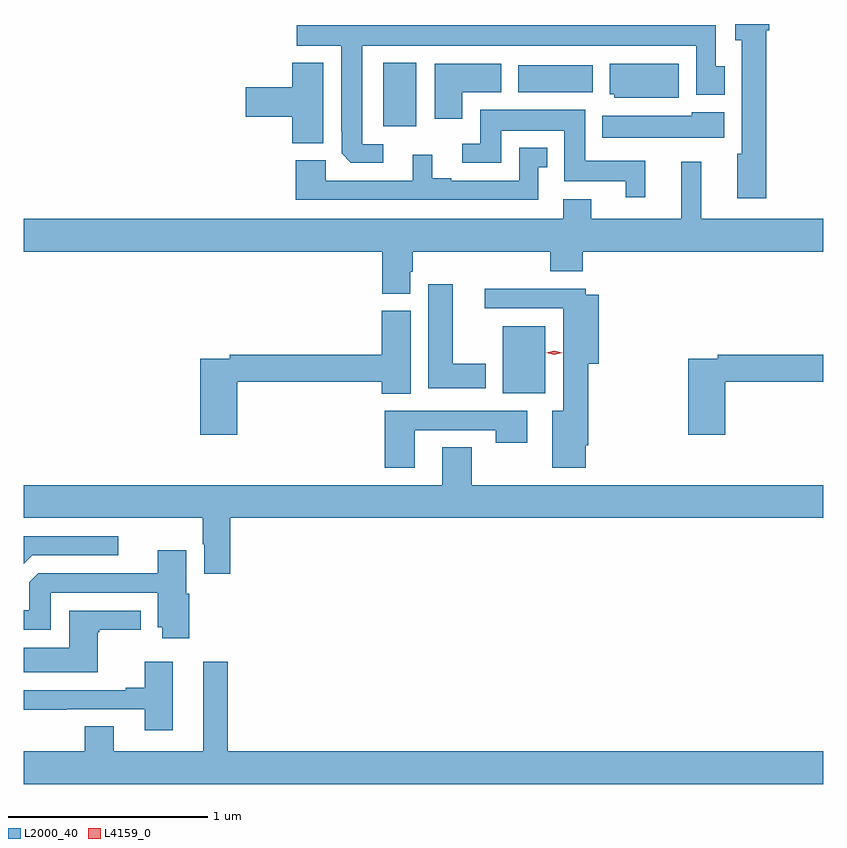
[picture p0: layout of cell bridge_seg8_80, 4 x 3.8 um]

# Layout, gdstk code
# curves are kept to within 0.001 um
import gdstk
lib = gdstk.Library(unit=1e-6, precision=1e-09)
def R(c, l, rs):  # rectangles x0, y0, x1, y1
    for r in rs: c.add(gdstk.rectangle(r[:2], r[2:], *l))
def P(c, l, *ps):  # polygons
    for p in ps: c.add(gdstk.Polygon(p, *l))
L2000_40 = (2000, 40)
L4159_0 = (4159, 0)

bridge_seg8_80 = lib.new_cell('bridge_seg8_80')
R(bridge_seg8_80, L2000_40, [(854.156,1115.792,854.368,1116.127), (853.559,1117.128,853.723,1117.444), (854.234,1117.298,854.608,1117.432)])
P(bridge_seg8_80, L2000_40, [(855.476,1117.608),(855.491,1117.608),(855.491,1117.639),(855.32,1117.639),(855.32,1117.557),(855.353,1117.557),(855.353,1116.99),(855.329,1116.99),(855.329,1116.768),(855.476,1116.768)],
  [(853.558,1117.038),(853.453,1117.038),(853.453,1117.529),(855.126,1117.529),(855.126,1117.284),(855.268,1117.284),(855.268,1117.428),(855.223,1117.428),(855.223,1117.633),(853.125,1117.633),(853.125,1117.529),(853.349,1117.529),(853.35,1116.991),(853.396,1116.945),(853.558,1116.945)],
  [(853.258,1117.444),(853.103,1117.444),(853.103,1117.322),(852.87,1117.322),(852.87,1117.175),(853.103,1117.175),(853.103,1117.043),(853.258,1117.043)],
  [(855.037,1117.441),(854.693,1117.441),(854.693,1117.287),(854.715,1117.287),(854.715,1117.271),(855.037,1117.271)],
  [(853.954,1117.298),(854.149,1117.298),(854.149,1117.441),(853.817,1117.441),(853.817,1117.164),(853.954,1117.164)],
  [(854.87,1116.955),(854.569,1116.955),(854.569,1117.21),(854.045,1117.21),(854.045,1117.041),(853.953,1117.041),(853.953,1116.945),(854.149,1116.945),(854.149,1117.106),(854.465,1117.106),(854.465,1116.851),(854.771,1116.851),(854.771,1116.771),(854.87,1116.771)],
  [(855.265,1117.198),(855.102,1117.198),(855.102,1117.18),(854.654,1117.18),(854.654,1117.07),(855.265,1117.07)],
  [(854.334,1116.921),(854.38,1116.921),(854.38,1117.021),(854.238,1117.021),(854.238,1116.855),(853.9,1116.855),(853.9,1116.868),(853.804,1116.868),(853.804,1116.985),(853.706,1116.985),(853.706,1116.855),(853.272,1116.855),(853.272,1116.958),(853.121,1116.958),(853.121,1116.759),(854.334,1116.759)],
  [(853.693,1116.399),(853.706,1116.399),(853.706,1116.5),(854.393,1116.5),(854.393,1116.401),(854.558,1116.401),(854.558,1116.5),(855.76,1116.5),(855.76,1116.664),(855.149,1116.664),(855.149,1116.949),(855.05,1116.949),(855.05,1116.664),(854.599,1116.664),(854.599,1116.763),(854.459,1116.763),(854.459,1116.664),(851.76,1116.664),(851.76,1116.5),(853.553,1116.5),(853.553,1116.289),(853.693,1116.289)],
  [(854.071,1115.938),(853.906,1115.938),(853.906,1116.337),(853.784,1116.337),(853.784,1115.816),(854.071,1115.816)],
  [(854.572,1115.53),(854.585,1115.53),(854.585,1115.939),(854.638,1115.939),(854.638,1116.283),(854.572,1116.283),(854.572,1116.314),(854.067,1116.314),(854.067,1116.216),(854.459,1116.216),(854.459,1115.704),(854.405,1115.704),(854.405,1115.418),(854.572,1115.418)],
  [(852.827,1115.848),(853.55,1115.848),(853.55,1115.788),(853.696,1115.788),(853.696,1116.204),(853.55,1116.204),(853.55,1115.984),(852.79,1115.984),(852.79,1115.964),(852.644,1115.964),(852.644,1115.583),(852.827,1115.583)],
  [(855.269,1115.848),(855.76,1115.848),(855.76,1115.984),(855.232,1115.984),(855.232,1115.964),(855.086,1115.964),(855.086,1115.583),(855.269,1115.583)],
  [(853.717,1115.607),(854.122,1115.607),(854.122,1115.544),(854.278,1115.544),(854.278,1115.703),(853.565,1115.703),(853.565,1115.418),(853.717,1115.418)],
  [(852.794,1115.168),(855.76,1115.168),(855.76,1115.332),(854.001,1115.332),(854.001,1115.522),(853.853,1115.522),(853.853,1115.332),(851.76,1115.332),(851.76,1115.168),(852.655,1115.168),(852.655,1115.036),(852.662,1115.036),(852.662,1114.887),(852.794,1114.887)],
  [(851.802,1114.98),(852.232,1114.98),(852.232,1115.076),(851.76,1115.076),(851.76,1114.938)],
  [(852.587,1114.787),(852.574,1114.787),(852.574,1115.005),(852.431,1115.005),(852.431,1114.89),(851.832,1114.89),(851.787,1114.845),(851.787,1114.706),(851.76,1114.706),(851.76,1114.608),(851.895,1114.608),(851.895,1114.794),(852.431,1114.794),(852.431,1114.62),(852.452,1114.62),(852.452,1114.566),(852.587,1114.566)],
  [(852.13,1114.596),(852.138,1114.596),(852.138,1114.607),(852.346,1114.607),(852.346,1114.704),(851.987,1114.704),(851.987,1114.519),(851.76,1114.519),(851.76,1114.395),(851.767,1114.395),(851.767,1114.394),(852.13,1114.394)],
  [(852.505,1114.447),(852.365,1114.447),(852.365,1114.318),(852.269,1114.318),(852.269,1114.305),(851.76,1114.305),(851.76,1114.208),(851.975,1114.208),(851.975,1114.209),(852.365,1114.209),(852.365,1114.104),(852.505,1114.104)],
  [(855.76,1114),(852.781,1114),(852.781,1114.447),(852.659,1114.447),(852.659,1114),(852.211,1114),(852.211,1114.124),(852.064,1114.124),(852.064,1114),(851.76,1114),(851.76,1113.836),(855.76,1113.836)])
P(bridge_seg8_80, L4159_0, [(854.414,1115.985),(854.373,1115.995),(854.373,1115.995),(854.373,1115.995),(854.414,1116.005),(854.454,1115.995),(854.454,1115.995),(854.454,1115.995)])

lib.write_gds('bridge_seg8_80.gds')
